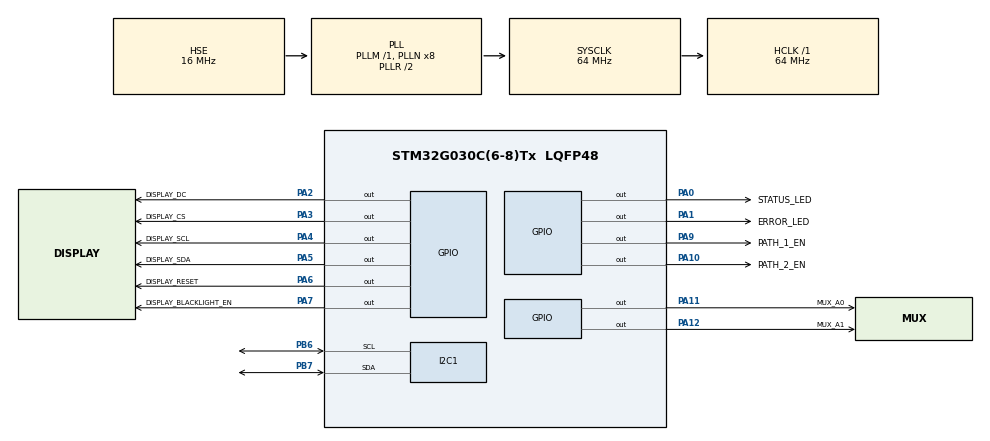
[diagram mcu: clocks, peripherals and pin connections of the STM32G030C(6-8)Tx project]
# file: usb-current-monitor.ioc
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I2C1.Timing=0x10707DBC
Mcu.Family=STM32G0
Mcu.Name=STM32G030C(6-8)Tx
Mcu.Package=LQFP48
PA0.GPIO_Label=STATUS_LED
PA0.GPIO_ModeDefaultOutputPP=GPIO_MODE_OUTPUT_OD
PA0.GPIO_PuPd=GPIO_NOPULL
PA0.PinState=GPIO_PIN_SET
PA0.Signal=GPIO_Output
PA1.GPIO_Label=ERROR_LED
PA1.GPIO_ModeDefaultOutputPP=GPIO_MODE_OUTPUT_OD
PA1.GPIO_PuPd=GPIO_NOPULL
PA1.PinState=GPIO_PIN_SET
PA1.Signal=GPIO_Output
PA10.GPIO_Label=PATH_2_EN
PA10.Signal=GPIO_Output
PA11\ [PA9].GPIO_Label=MUX_A0
PA11\ [PA9].Signal=GPIO_Output
PA12\ [PA10].GPIO_Label=MUX_A1
PA12\ [PA10].PinState=GPIO_PIN_SET
PA12\ [PA10].Signal=GPIO_Output
PA13.Mode=Serial_Wire
PA13.Signal=SYS_SWDIO
PA14-BOOT0.Mode=Serial_Wire
PA14-BOOT0.Signal=SYS_SWCLK
PA2.GPIO_Label=DISPLAY_DC
PA2.Signal=GPIO_Output
PA3.GPIO_Label=DISPLAY_CS
PA3.Signal=GPIO_Output
PA4.GPIO_Label=DISPLAY_SCL
PA4.Signal=GPIO_Output
PA5.GPIO_Label=DISPLAY_SDA
PA5.Signal=GPIO_Output
PA6.GPIO_Label=DISPLAY_RESET
PA6.Signal=GPIO_Output
PA7.GPIO_Label=DISPLAY_BLACKLIGHT_EN
PA7.PinState=GPIO_PIN_RESET
PA7.Signal=GPIO_Output
PA9.GPIO_Label=PATH_1_EN
PA9.PinState=GPIO_PIN_SET
PA9.Signal=GPIO_Output
PB6.Mode=I2C
PB6.Signal=I2C1_SCL
PB7.Mode=I2C
PB7.Signal=I2C1_SDA
PF0-OSC_IN\ (PF0).Mode=HSE-External-Oscillator
PF0-OSC_IN\ (PF0).Signal=RCC_OSC_IN
PF1-OSC_OUT\ (PF1).Mode=HSE-External-Oscillator
PF1-OSC_OUT\ (PF1).Signal=RCC_OSC_OUT
ProjectManager.HeapSize=0x200
ProjectManager.StackSize=0x400
ProjectManager.TargetToolchain=Makefile
RCC.ADCFreq_Value=64000000
RCC.AHBFreq_Value=64000000
RCC.CortexFreq_Value=64000000
RCC.EXTERNAL_CLOCK_VALUE=12288000
RCC.HCLKFreq_Value=64000000
RCC.HSE_VALUE=16000000
RCC.HSI_VALUE=16000000
RCC.LSE_VALUE=32768
RCC.PLLSourceVirtual=RCC_PLLSOURCE_HSE
RCC.SYSCLKFreq_VALUE=64000000
RCC.SYSCLKSource=RCC_SYSCLKSOURCE_PLLCLK
RCC.VCOOutputFreq_Value=128000000
board=custom

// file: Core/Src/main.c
/* USER CODE BEGIN Header */
/**
 ******************************************************************************
 * @file           : main.c
 * @brief          : Main program body
 ******************************************************************************
 * @attention
 *
 * Copyright (c) 2023 STMicroelectronics.
 * All rights reserved.
 *
 * This software is licensed under terms that can be found in the LICENSE file
 * in the root directory of this software component.
 * If no LICENSE file comes with this software, it is provided AS-IS.
 *
 ******************************************************************************
 */
/* USER CODE END Header */
#include "main.h"

/* USER CODE BEGIN Includes */
#include "adc.h"
#include "buffer.h"
#include "display.h"
#include "font.h"
#include "stdio.h"
#include "str-util.h"
/* USER CODE END Includes */

/* USER CODE BEGIN PD */

#define DIAGRAM_WIDTH (BUFFER_SIZE)
#define DIAGRAM_HEIGHT 150
#define DIAGRAM_OFFSET 2
#define DIAGRAM_START_X 3
#define DIAGRAM_START_Y 150
#define DIAGRAM_END_X (DIAGRAM_START_X + DIAGRAM_WIDTH)
#define DIAGRAM_END_Y (DIAGRAM_START_Y + DIAGRAM_HEIGHT)

/* USER CODE END PD */

I2C_HandleTypeDef hi2c1;

/* USER CODE BEGIN PV */

const uint16_t whiteColor = CONVERT_24BIT_COLOR(0xFFFFFF);
const double maxCurrent = 5000;

/* USER CODE END PV */

void SystemClock_Config(void);
static void MX_GPIO_Init(void);
static void MX_I2C1_Init(void);

int main(void) {

    /* MCU Configuration--------------------------------------------------------*/

    /* Reset of all peripherals, Initializes the Flash interface and the Systick. */
    HAL_Init();

    /* Configure the system clock */
    SystemClock_Config();

    /* Initialize all configured peripherals */
    MX_GPIO_Init();
    MX_I2C1_Init();
    /* USER CODE BEGIN 2 */

    ADC_init(&hi2c1);
    HAL_GPIO_WritePin(DISPLAY_BLACKLIGHT_EN_GPIO_Port, DISPLAY_BLACKLIGHT_EN_Pin, 1);

    Display_textProps voltageLabelProps = {.font = font,
                                           .text = "Loading",
                                           .posX = 5,
                                           .posY = 20,
                                           .fontSize = 2,
                                           .fontColor = 0x0,
                                           .backgroundColor = whiteColor};
    Display_textProps currentLabelProps = {.font = font,
                                           .text = "Loading",
                                           .posX = 5,
                                           .posY = 60,
                                           .fontSize = 2,
                                           .fontColor = 0x0,
                                           .backgroundColor = whiteColor};
    Display_textProps powerLabelProps = {.font = font,
                                         .text = "Loading",
                                         .posX = 5,
                                         .posY = 100,
                                         .fontSize = 2,
                                         .fontColor = 0x0,
                                         .backgroundColor = whiteColor};

    Display_init();
    Display_drawText(&voltageLabelProps);
    Display_drawText(&currentLabelProps);
    Display_drawText(&powerLabelProps);

    // Frame for the diagram
    Display_drawRectangle(DIAGRAM_START_X - DIAGRAM_OFFSET, DIAGRAM_START_Y - DIAGRAM_OFFSET,
                          DIAGRAM_END_X + DIAGRAM_OFFSET, DIAGRAM_END_Y + DIAGRAM_OFFSET, 0x0);

    /* USER CODE END 2 */

    /* Infinite loop */
    /* USER CODE BEGIN WHILE */

    char textBuffer[16] = {0};

    while (1) {
        /* USER CODE END WHILE */

        /* USER CODE BEGIN 3 */

        volatile double voltage = ADC_readVoltage(&hi2c1);
        volatile double current = ADC_readCurrent(&hi2c1);
        volatile double power = voltage * current / 1000;

        Buffer_addValue(current);

        // Display voltage
        formatFloat(textBuffer, voltage, "V");
        voltageLabelProps.text = textBuffer;
        Display_drawText(&voltageLabelProps);

        // Display current
        if (current < 1) {
            formatFloat(textBuffer, current * 1000, "uA");
        } else {
            formatFloat(textBuffer, current, "mA");
        }
        currentLabelProps.text = textBuffer;
        Display_drawText(&currentLabelProps);

        // Display power
        if (power < 1) {
            formatFloat(textBuffer, power * 1000, "mW");
        } else {
            formatFloat(textBuffer, power, "W ");
        }
        powerLabelProps.text = textBuffer;
        Display_drawText(&powerLabelProps);

        // Display diagram graph
        for (uint16_t i = 0; i < BUFFER_SIZE; i++) {
            double currentValue = Buffer_readValue(i);
            double nextValue = Buffer_readValue(i + 1);
            uint16_t currentX = DIAGRAM_START_Y + (DIAGRAM_HEIGHT - (currentValue / maxCurrent * DIAGRAM_HEIGHT));
            uint16_t nextX = DIAGRAM_START_Y + (DIAGRAM_HEIGHT - (nextValue / maxCurrent * DIAGRAM_HEIGHT));

            // Only overwrite if the previous datapoint is not fully covered
            if (currentX > nextX) {
                Display_fillRectangle(DIAGRAM_START_X + i, nextX, 1, currentX - nextX, whiteColor);
            } else if (i == BUFFER_SIZE - 1) {
                Display_fillRectangle(DIAGRAM_START_X + i, DIAGRAM_START_Y, 1, DIAGRAM_HEIGHT, whiteColor);
            }

            Display_fillRectangle(DIAGRAM_START_X + i, currentX, 1, DIAGRAM_END_Y - currentX, 0x0);
        }
    }
    /* USER CODE END 3 */
}

void SystemClock_Config(void) {
    RCC_OscInitTypeDef RCC_OscInitStruct = {0};
    RCC_ClkInitTypeDef RCC_ClkInitStruct = {0};

    /** Configure the main internal regulator output voltage
     */
    HAL_PWREx_ControlVoltageScaling(PWR_REGULATOR_VOLTAGE_SCALE1);

    /** Initializes the RCC Oscillators according to the specified parameters
     * in the RCC_OscInitTypeDef structure.
     */
    RCC_OscInitStruct.OscillatorType = RCC_OSCILLATORTYPE_HSE;
    RCC_OscInitStruct.HSEState = RCC_HSE_ON;
    RCC_OscInitStruct.PLL.PLLState = RCC_PLL_ON;
    RCC_OscInitStruct.PLL.PLLSource = RCC_PLLSOURCE_HSE;
    RCC_OscInitStruct.PLL.PLLM = RCC_PLLM_DIV1;
    RCC_OscInitStruct.PLL.PLLN = 8;
    RCC_OscInitStruct.PLL.PLLP = RCC_PLLP_DIV2;
    RCC_OscInitStruct.PLL.PLLR = RCC_PLLR_DIV2;
    if (HAL_RCC_OscConfig(&RCC_OscInitStruct) != HAL_OK) {
        Error_Handler();
    }

    /** Initializes the CPU, AHB and APB buses clocks
     */
    RCC_ClkInitStruct.ClockType = RCC_CLOCKTYPE_HCLK | RCC_CLOCKTYPE_SYSCLK | RCC_CLOCKTYPE_PCLK1;
    RCC_ClkInitStruct.SYSCLKSource = RCC_SYSCLKSOURCE_PLLCLK;
    RCC_ClkInitStruct.AHBCLKDivider = RCC_SYSCLK_DIV1;
    RCC_ClkInitStruct.APB1CLKDivider = RCC_HCLK_DIV1;

    if (HAL_RCC_ClockConfig(&RCC_ClkInitStruct, FLASH_LATENCY_2) != HAL_OK) {
        Error_Handler();
    }
}

static void MX_I2C1_Init(void) {

    hi2c1.Instance = I2C1;
    hi2c1.Init.Timing = 0x10707DBC;
    hi2c1.Init.OwnAddress1 = 0;
    hi2c1.Init.AddressingMode = I2C_ADDRESSINGMODE_7BIT;
    hi2c1.Init.DualAddressMode = I2C_DUALADDRESS_DISABLE;
    hi2c1.Init.OwnAddress2 = 0;
    hi2c1.Init.OwnAddress2Masks = I2C_OA2_NOMASK;
    hi2c1.Init.GeneralCallMode = I2C_GENERALCALL_DISABLE;
    hi2c1.Init.NoStretchMode = I2C_NOSTRETCH_DISABLE;
    if (HAL_I2C_Init(&hi2c1) != HAL_OK) {
        Error_Handler();
    }

    /** Configure Analogue filter
     */
    if (HAL_I2CEx_ConfigAnalogFilter(&hi2c1, I2C_ANALOGFILTER_ENABLE) != HAL_OK) {
        Error_Handler();
    }

    /** Configure Digital filter
     */
    if (HAL_I2CEx_ConfigDigitalFilter(&hi2c1, 0) != HAL_OK) {
        Error_Handler();
    }
}

static void MX_GPIO_Init(void) {
    GPIO_InitTypeDef GPIO_InitStruct = {0};

    /* GPIO Ports Clock Enable */
    __HAL_RCC_GPIOF_CLK_ENABLE();
    __HAL_RCC_GPIOA_CLK_ENABLE();
    __HAL_RCC_GPIOB_CLK_ENABLE();

    /*Configure GPIO pin Output Level */
    HAL_GPIO_WritePin(GPIOA, STATUS_LED_Pin | ERROR_LED_Pin | PATH_1_EN_Pin | MUX_A1_Pin, GPIO_PIN_SET);

    /*Configure GPIO pin Output Level */
    HAL_GPIO_WritePin(GPIOA,
                      DISPLAY_DC_Pin | DISPLAY_CS_Pin | DISPLAY_SCL_Pin | DISPLAY_SDA_Pin | DISPLAY_RESET_Pin |
                          DISPLAY_BLACKLIGHT_EN_Pin | PATH_2_EN_Pin | MUX_A0_Pin,
                      GPIO_PIN_RESET);

    /*Configure GPIO pins : STATUS_LED_Pin ERROR_LED_Pin */
    GPIO_InitStruct.Pin = STATUS_LED_Pin | ERROR_LED_Pin;
    GPIO_InitStruct.Mode = GPIO_MODE_OUTPUT_OD;
    GPIO_InitStruct.Pull = GPIO_NOPULL;
    GPIO_InitStruct.Speed = GPIO_SPEED_FREQ_LOW;
    HAL_GPIO_Init(GPIOA, &GPIO_InitStruct);

    /*Configure GPIO pins : DISPLAY_DC_Pin DISPLAY_CS_Pin DISPLAY_SCL_Pin DISPLAY_SDA_Pin
                             DISPLAY_RESET_Pin DISPLAY_BLACKLIGHT_EN_Pin PATH_1_EN_Pin PATH_2_EN_Pin
                             MUX_A0_Pin MUX_A1_Pin */
    GPIO_InitStruct.Pin = DISPLAY_DC_Pin | DISPLAY_CS_Pin | DISPLAY_SCL_Pin | DISPLAY_SDA_Pin | DISPLAY_RESET_Pin |
                          DISPLAY_BLACKLIGHT_EN_Pin | PATH_1_EN_Pin | PATH_2_EN_Pin | MUX_A0_Pin | MUX_A1_Pin;
    GPIO_InitStruct.Mode = GPIO_MODE_OUTPUT_PP;
    GPIO_InitStruct.Pull = GPIO_NOPULL;
    GPIO_InitStruct.Speed = GPIO_SPEED_FREQ_LOW;
    HAL_GPIO_Init(GPIOA, &GPIO_InitStruct);

}

void Error_Handler(void) {
    __disable_irq();
    while (1) {
    }
}
